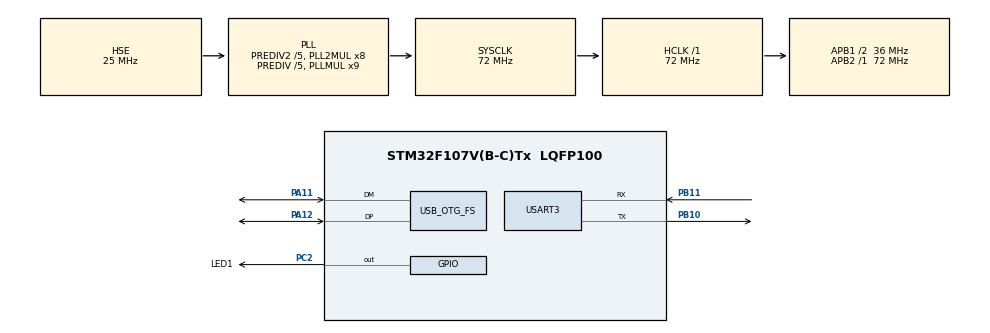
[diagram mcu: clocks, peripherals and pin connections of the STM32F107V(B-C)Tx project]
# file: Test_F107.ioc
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Mcu.Family=STM32F1
Mcu.Name=STM32F107V(B-C)Tx
Mcu.Package=LQFP100
NVIC.OTG_FS_IRQn=true\:0\:0\:false\:false\:true\:false\:true\:true
NVIC.PriorityGroup=NVIC_PRIORITYGROUP_4
OSC_IN.Mode=HSE-External-Oscillator
OSC_IN.Signal=RCC_OSC_IN
OSC_OUT.Mode=HSE-External-Oscillator
OSC_OUT.Signal=RCC_OSC_OUT
PA11.Mode=Device_Only
PA11.Signal=USB_OTG_FS_DM
PA12.Mode=Device_Only
PA12.Signal=USB_OTG_FS_DP
PA13.Mode=Serial_Wire
PA13.Signal=SYS_JTMS-SWDIO
PA14.Mode=Serial_Wire
PA14.Signal=SYS_JTCK-SWCLK
PB10.Mode=Asynchronous
PB10.Signal=USART3_TX
PB11.Mode=Asynchronous
PB11.Signal=USART3_RX
PC2.GPIO_Label=LED1
PC2.Signal=GPIO_Output
ProjectManager.HeapSize=0x200
ProjectManager.StackSize=0x400
ProjectManager.TargetToolchain=MDK-ARM V5.32
RCC.AHBFreq_Value=72000000
RCC.APB1CLKDivider=RCC_HCLK_DIV2
RCC.APB1Freq_Value=36000000
RCC.APB1TimFreq_Value=72000000
RCC.APB2Freq_Value=72000000
RCC.APB2TimFreq_Value=72000000
RCC.HCLKFreq_Value=72000000
RCC.HSEDivPLL=RCC_HSE_PREDIV_DIV5
RCC.HSE_VALUE=25000000
RCC.PLLMUL=RCC_PLL_MUL9
RCC.PLLSourceVirtual=RCC_PLLSOURCE_HSE
RCC.Prediv1Source=RCC_PREDIV1_SOURCE_PLL2
RCC.Prediv2=RCC_HSE_PREDIV2_DIV5
RCC.SYSCLKFreq_VALUE=72000000
RCC.SYSCLKSource=RCC_SYSCLKSOURCE_PLLCLK
RCC.USBFreq_Value=48000000
USART3.VirtualMode=VM_ASYNC
USB_DEVICE.CLASS_NAME_FS=CDC
USB_DEVICE.VirtualMode=Cdc
USB_DEVICE.VirtualModeFS=Cdc_FS
USB_OTG_FS.VirtualMode=Device_Only
VP_USB_DEVICE_VS_USB_DEVICE_CDC_FS.Mode=CDC_FS
board=custom

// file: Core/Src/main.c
/* USER CODE BEGIN Header */
/**
  ******************************************************************************
  * @file           : main.c
  * @brief          : Main program body
  ******************************************************************************
  * @attention
  *
  * Copyright (c) 2025 STMicroelectronics.
  * All rights reserved.
  *
  * This software is licensed under terms that can be found in the LICENSE file
  * in the root directory of this software component.
  * If no LICENSE file comes with this software, it is provided AS-IS.
  *
  ******************************************************************************
  */
/* USER CODE END Header */
#include "main.h"
#include "usart.h"
#include "usb_device.h"
#include "gpio.h"

/* USER CODE BEGIN Includes */
#include "string.h"
#include "stdio.h"
#include "usbd_cdc_if.h"

/* USER CODE END Includes */

void SystemClock_Config(void);
/* USER CODE BEGIN PFP */
#ifdef __GNUC__
  /* With GCC, small printf (option LD Linker->Libraries->Small printf
     set to 'Yes') calls __io_putchar() */
  #define PUTCHAR_PROTOTYPE int __io_putchar(int ch)
#else
  #define PUTCHAR_PROTOTYPE int fputc(int ch, FILE *f)
#endif /* __GNUC__ */
PUTCHAR_PROTOTYPE
{
  /* Place your implementation of fputc here */
  /* e.g. write a character to the EVAL_COM1 and Loop until the end of transmission */
  HAL_UART_Transmit(&huart3, (uint8_t *)&ch, 1, 0xFFFF);

  return ch;
}
/* USER CODE END PFP */

/* USER CODE BEGIN 0 */
extern USBD_HandleTypeDef hUsbDeviceFS;
/* USER CODE END 0 */

int main(void)
{

  /* MCU Configuration--------------------------------------------------------*/

  /* Reset of all peripherals, Initializes the Flash interface and the Systick. */
  HAL_Init();

  /* Configure the system clock */
  SystemClock_Config();

  /* Initialize all configured peripherals */
  MX_GPIO_Init();
  MX_USART3_UART_Init();

	HAL_Delay(500);

  MX_USB_DEVICE_Init();

  /* Infinite loop */
  /* USER CODE BEGIN WHILE */

	uint8_t tx_data[100];

	int count=0;
  while (1)
  {
    /* USER CODE END WHILE */

    /* USER CODE BEGIN 3 */
		HAL_GPIO_WritePin(LED1_GPIO_Port,LED1_Pin,GPIO_PIN_RESET);
		HAL_Delay(300);
		HAL_GPIO_WritePin(LED1_GPIO_Port,LED1_Pin,GPIO_PIN_SET);
		HAL_Delay(300);

		sprintf(tx_data,"Hello\r\n");
		USBD_CDC_SetTxBuffer(&hUsbDeviceFS, (uint8_t *) &tx_data,7);

    if (USBD_CDC_TransmitPacket(&hUsbDeviceFS) == USBD_OK)
    {
		}

  }
  /* USER CODE END 3 */
}

void SystemClock_Config(void)
{
  RCC_OscInitTypeDef RCC_OscInitStruct = {0};
  RCC_ClkInitTypeDef RCC_ClkInitStruct = {0};
  RCC_PeriphCLKInitTypeDef PeriphClkInit = {0};

  /** Initializes the RCC Oscillators according to the specified parameters
  * in the RCC_OscInitTypeDef structure.
  */
  RCC_OscInitStruct.OscillatorType = RCC_OSCILLATORTYPE_HSE;
  RCC_OscInitStruct.HSEState = RCC_HSE_ON;
  RCC_OscInitStruct.HSEPredivValue = RCC_HSE_PREDIV_DIV5;
  RCC_OscInitStruct.HSIState = RCC_HSI_ON;
  RCC_OscInitStruct.Prediv1Source = RCC_PREDIV1_SOURCE_PLL2;
  RCC_OscInitStruct.PLL.PLLState = RCC_PLL_ON;
  RCC_OscInitStruct.PLL.PLLSource = RCC_PLLSOURCE_HSE;
  RCC_OscInitStruct.PLL.PLLMUL = RCC_PLL_MUL9;
  RCC_OscInitStruct.PLL2.PLL2State = RCC_PLL2_ON;
  RCC_OscInitStruct.PLL2.PLL2MUL = RCC_PLL2_MUL8;
  RCC_OscInitStruct.PLL2.HSEPrediv2Value = RCC_HSE_PREDIV2_DIV5;
  if (HAL_RCC_OscConfig(&RCC_OscInitStruct) != HAL_OK)
  {
    Error_Handler();
  }

  /** Initializes the CPU, AHB and APB buses clocks
  */
  RCC_ClkInitStruct.ClockType = RCC_CLOCKTYPE_HCLK|RCC_CLOCKTYPE_SYSCLK
                              |RCC_CLOCKTYPE_PCLK1|RCC_CLOCKTYPE_PCLK2;
  RCC_ClkInitStruct.SYSCLKSource = RCC_SYSCLKSOURCE_PLLCLK;
  RCC_ClkInitStruct.AHBCLKDivider = RCC_SYSCLK_DIV1;
  RCC_ClkInitStruct.APB1CLKDivider = RCC_HCLK_DIV2;
  RCC_ClkInitStruct.APB2CLKDivider = RCC_HCLK_DIV1;

  if (HAL_RCC_ClockConfig(&RCC_ClkInitStruct, FLASH_LATENCY_2) != HAL_OK)
  {
    Error_Handler();
  }
  PeriphClkInit.PeriphClockSelection = RCC_PERIPHCLK_USB;
  PeriphClkInit.UsbClockSelection = RCC_USBCLKSOURCE_PLL_DIV3;
  if (HAL_RCCEx_PeriphCLKConfig(&PeriphClkInit) != HAL_OK)
  {
    Error_Handler();
  }

  /** Configure the Systick interrupt time
  */
  __HAL_RCC_PLLI2S_ENABLE();
}

void Error_Handler(void)
{
  __disable_irq();
  while (1)
  {
  }
}
